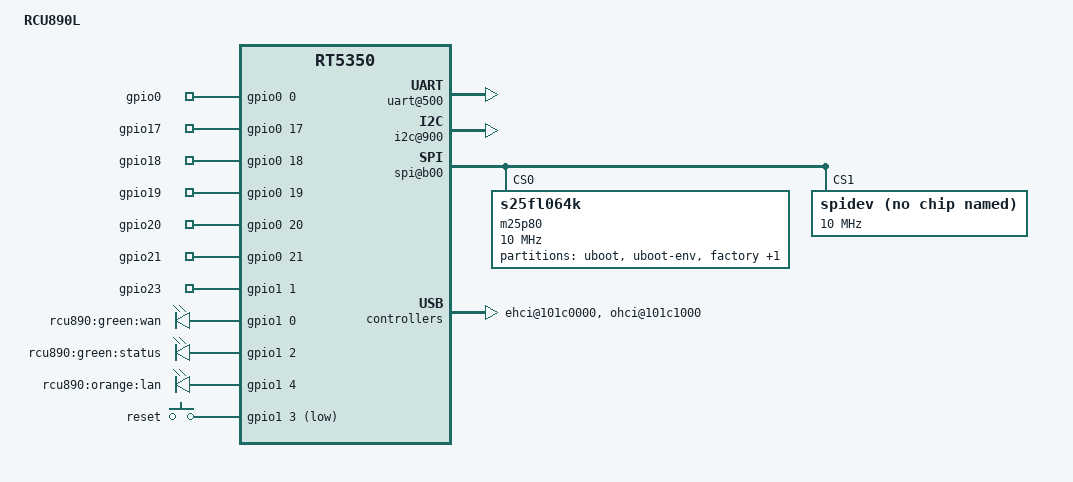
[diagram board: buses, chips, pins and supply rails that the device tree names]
/dts-v1/;

/include/ "rt5350.dtsi"

/ {
	compatible = "RCU890L", "ralink,rt5350-soc";
	model = "RCU890L";
	
	chosen {
		bootargs = "console=ttyS0,115200";
	};

	palmbus@10000000 {	

		uart@500 {    
            		status = "okay";
	        };
		
		gpio0: gpio@600 {
			status = "okay";
		};
		
		gpio1: gpio@660 {
			status = "okay";
		};

		i2c@900 {
			status = "okay";
		};

		spi@b00 {
			status = "okay";

			m25p80@0 {
				#address-cells = <1>;
				#size-cells = <1>;
				compatible = "s25fl064k";
				reg = <0>;
				linux,modalias = "m25p80", "s25fl064k";
				spi-max-frequency = <10000000>;

				partition@0 {
					label = "uboot";
					reg = <0x0 0x30000>;
					/*read-only;*/
				};

				partition@30000 {
					label = "uboot-env";
					reg = <0x30000 0x10000>;
					/*read-only;*/
				};

				factory: partition@40000 {
					label = "factory";
					reg = <0x40000 0x10000>;
					read-only;
				};

				partition@50000 {
					label = "firmware";
					reg = <0x50000 0xfb0000>;
				};
			};

			spidev@1 {
				compatible = "linux,spidev";
				spi-max-frequency = <10000000>;
				reg = <1>;
			};
		};		
	};

	pinctrl {
		state_default: pinctrl0 {
			gpio {
				ralink,group = "jtag","led";
				ralink,function = "gpio";
			};							
		};
	};

	ethernet@10100000 {
		mtd-mac-address = <&factory 0x4>;
	};

	esw@10110000 {
		ralink,portmap = <0x17>;
	};

	wmac@10180000 {
		ralink,mtd-eeprom = <&factory 0>;
	};

	ehci@101c0000 {
		status = "okay";
	};

	ohci@101c1000 {
		status = "okay";
	};	

	gpio-export {
		compatible = "gpio-export";
		#size-cells = <0>;

		/* GPIO0 => GPIO_LTE_RST */
		gpio0 {
			gpio-export,name = "gpio0";
			gpio-export,direction_may_change = <1>;
			gpios = <&gpio0 0 0>;
		};

		/* JTAG_TDO => RCU_EXT_PWR_DET */
		gpio17 {
			/* JTAG_TDO */
			gpio-export,name = "gpio17";
			gpio-export,direction_may_change = <1>;
			gpios = <&gpio0 17 0>;
		};

		/* JTAG_TDI => RCU_GPIO_0 */
		gpio18 {
			/* JTAG_TDI */
			gpio-export,name = "gpio18";
			gpio-export,direction_may_change = <1>;
			gpios = <&gpio0 18 0>;
		};

		/* JTAG_TMS => RCU_GPIO_1 */
		gpio19 {
			/* JTAG_TMS */
			gpio-export,name = "gpio19";
			gpio-export,direction_may_change = <1>;
			gpios = <&gpio0 19 0>;
		};

		/* JTAG_TCLK => RCU_GPIO_2 */
		gpio20 {
			/* JTAG_TCLK */
			gpio-export,name = "gpio20";
			gpio-export,direction_may_change = <1>;
			gpios = <&gpio0 20 0>;
		};

		/* JTAG_TRST_N => RCU_CL */
		gpio21 {
			/* JTAG_TRST_N */
			gpio-export,name = "gpio21";
			gpio-export,direction_may_change = <1>;
			gpios = <&gpio0 21 0>;
		};		

		/* EPHY_LED1_N => RCU_LED_GREEN_1_SERIAL_RX_TX */
		gpio23 {
			/* EPHY_LED1_N */
			gpio-export,name = "gpio23";
			gpio-export,direction_may_change = <1>;
			gpios = <&gpio1 1 0>;
		};		
		
	};
	
	gpio-leds {
		compatible = "gpio-leds";
		
		lan0 {
			/* EPHY_LED0_N */
			label = "rcu890:green:wan";
			gpios = <&gpio1 0 0>;
		};
				
		status {
			/* EPHY_LED2_N */
			label = "rcu890:green:status";
			gpios = <&gpio1 2 0>;
		};				

		lan4 {
			/* EPHY_LED4_N */
			label = "rcu890:orange:lan";
			gpios = <&gpio1 4 0>;
		};								
	};	

	/* EPHY_LED3_N ==> RCU_FACTORY_RESET */
	gpio-keys-polled {
		compatible = "gpio-keys-polled";
		#address-cells = <1>;
		#size-cells = <0>;
		poll-interval = <200>;
		reset {
			label = "reset";
			gpios = <&gpio1 3 1>;
			linux,code = <0x198>;
		};
	};
};
